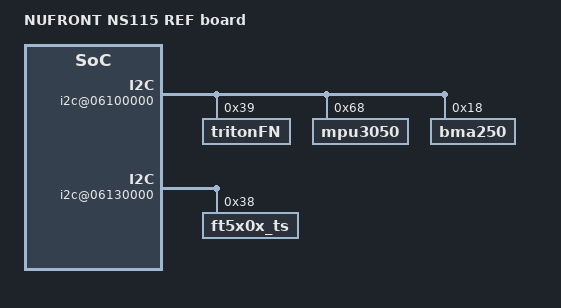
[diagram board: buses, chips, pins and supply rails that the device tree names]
/dts-v1/;


/include/ "nufront.dtsi"

/ {
	model = "NUFRONT NS115 REF board";
	compatible = "nufront,ns115";

	chosen {
		bootargs = "root=/dev/mmcblk0p3 rw rootwait init=/init pmem=0xb3800000  mem=640M console=ttyS0,115200   video=nusmartfb:480x800-16";
	};
	aliases { };

	i2c@06100000 {

		tritonFN {

			compatible = "tritonFN";
			interrupts = <4>;
			reg = <0x39>;
		};

		mpu3050 {
			compatible = "mpu3050";
			interrupts = <35>;
			reg = <0x68>;
			int_config = <0x10>;
			orientation = <0 0xff 0 1 0 0 0 0 1>;
		};

		bma250 {
			compatible = "bma250";
			interrupts = <36>;
			reg = <0x18>;
			bus = <0x01>;
			orientation = <1 0 0 0 1 0 0 0 1>;
		};
	};

	i2c@06110000 {
	};

	i2c@06120000 {
	};

	i2c@06130000 {
/*
		Goodix-TS{
				compatible = "Goodix-TS";
				interrupts = <16>;
				reset_gpio = <49>;
				reg = <0x55>;
			  };
*/
		ft5x0x_ts{
				compatible = "ft5x0x_ts";
				interrupts = <16>;
				reset_gpio = <49>;
				reg = <0x38>;
			  };
	};

	sdmmc@0x05070000 {
		slot@0{
			ctype          = <1>;//SD_CARD,
			caps           = <1>;//MMC_CAP_4_BIT_DATA
			freq           = <25000000>;
			ocr_avail      = <0xff8000>;     //2.6V-3.7V
			force_rescan   = <0>;
		};
		slot@1{
			ctype          = <4>;//EMMC_CARD,
			caps           = <0x142>;//MMC_CAP_NONREMOVABLE|MMC_CAP_8_BIT_DATA
			freq           = <25000000>;
			ocr_avail      = <0xff8000>;     //2.6V-3.7V
			force_rescan   = <1>;
		};
		slot@2{
			ctype          = <8>;//SDIO_CARD,
			caps           = <0x101>;//MMC_CAP_NONREMOVABLE|MMC_CAP_4_BIT_DATA
			pm_caps        = <0x5>;//MMC_PM_KEEP_POWER|MMC_PM_IGNORE_PM_NOTIFY
			freq           = <25000000>;
			ocr_avail      = <0xff8000>;     //2.6V-3.7V
			force_rescan   = <1>;
		};
	};

	bluetooth{
		compatible	= "nufront,nw53_bt_power";
		interrupts	= <6>;
		reg		= <0x0 0x0>;
		ap_wake		= <6>;
		bt_wake		= <54>;
		reset_gpio	= <53>;
		shutdown_gpio	= <63>;
		rfkill_name	= "rfkill_gpio";
	};

	pinmux{
		compatible	= "nufront,ns115-pinmux";
		setting_table	= <0xaa000000 0x0 0x0 0x14000 0x0 0x40155100 0x14001 0x50000000 0x555 0x0>;
	};

};
